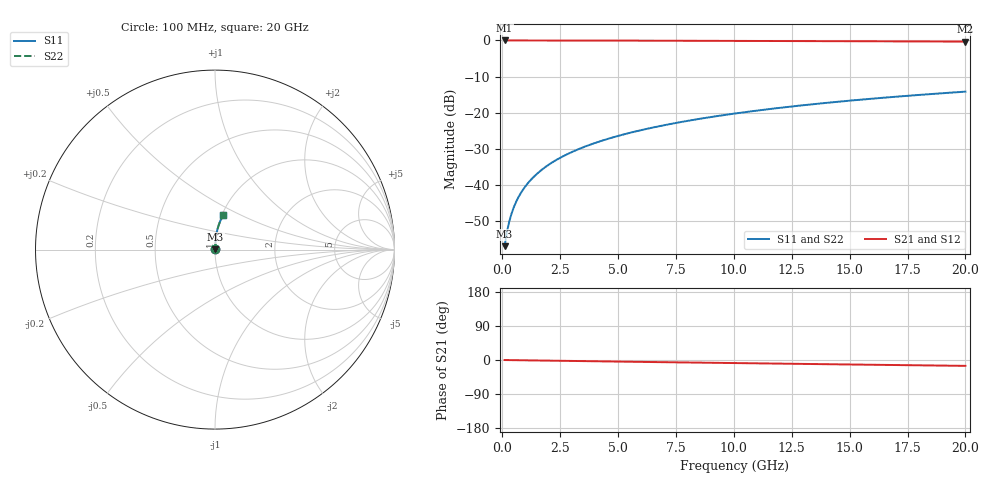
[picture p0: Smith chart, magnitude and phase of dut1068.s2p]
! Touchstone file exported from HFSS 2024.1.0
!  File:  C:/UserFiles/LocalFiles/RDL_TSV_Batchsim/temp_RDL_bottom_1068_1780052645.aedt
!  Generated:  07:06:59 PM May 29, 2026
!  Design:  RDL_bottom
!  Project:  temp_RDL_bottom_1068_1780052645
!  Setup:  Setup1
!  Solution:  Sweep
! Variables:
!  dtsv = 10.80580581um
!  hbump = 3um
!  htsv = 98.9um
!  ldown = 165.94um
!  lrdl = 100um
!  p = 40
!  p1 = 51.41um
!  rhole = 1um
!  t = 450um
!  tdown = 4.33um
!  trdl = 3.915915916um
!  wdown = 15.51um
!  wrdl = 20um
# GHz S MA R 50.000000
! Terminal data exported
! Port[1] = RDL1_T1
! Port[2] = RDL1_T2
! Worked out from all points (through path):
!   200 points, 100 MHz to 20 GHz, reference 50 ohm
!   highest |S21| = -0.01 dB at 100 MHz (marker M1); lowest = -0.3 dB at 20 GHz (marker M2)
!   group delay of S21, straight-line fit = 2.14 ps
!   lowest |S11| = -57.0 dB at 100 MHz (marker M3), VSWR 1.00, Z = 50.1 + j0.0989 ohm
!   |S11| at or under -10 dB: start of sweep to end of sweep
!   |S22| runs from -57.0 to -14.2 dB; largest |S21 - S12| = 4.4e-15
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0.1  0.00142 44.0  0.999 -0.1  0.999 -0.1  0.00142 44.0
! Gamma 0 0 0 0
! Port Impedance 50 0 50 0
0.2  0.002223 61.8  0.9989 -0.2  0.9989 -0.2  0.002223 61.8
0.3  0.00311 69.6  0.9989 -0.3  0.9989 -0.3  0.00311 69.6
0.4  0.004018 74.0  0.9989 -0.3  0.9989 -0.3  0.004018 74.0
0.5  0.004935 76.7  0.9988 -0.4  0.9988 -0.4  0.004935 76.7
0.6  0.005857 78.6  0.9988 -0.5  0.9988 -0.5  0.005857 78.6
0.8  0.007714 81.1  0.9987 -0.7  0.9987 -0.7  0.007714 81.1
1.1  0.01052 83.2  0.9986 -0.9  0.9986 -0.9  0.01052 83.2
1.5  0.01428 84.7  0.9984 -1.3  0.9984 -1.3  0.01428 84.7
1.8  0.01711 85.3  0.9982 -1.5  0.9982 -1.5  0.01711 85.3
2.1  0.01994 85.8  0.9979 -1.8  0.9979 -1.8  0.01994 85.8
2.7  0.02563 86.3  0.9974 -2.3  0.9974 -2.3  0.02563 86.3
3.5  0.03325 86.5  0.9965 -3.0  0.9965 -3.0  0.03325 86.5
4.2  0.03996 86.5  0.9956 -3.5  0.9956 -3.5  0.03996 86.5
5  0.04767 86.4  0.9944 -4.2  0.9944 -4.2  0.04767 86.4
5.9  0.0564 86.2  0.9929 -4.9  0.9929 -4.9  0.0564 86.2
6.8  0.0652 85.9  0.9914 -5.6  0.9914 -5.6  0.0652 85.9
8.3  0.07999 85.1  0.9886 -6.8  0.9886 -6.8  0.07999 85.1
10.1  0.09788 84.1  0.9851 -8.2  0.9851 -8.2  0.09788 84.1
13.4  0.1308 81.9  0.9784 -10.7  0.9784 -10.7  0.1308 81.9
16.7  0.1634 79.4  0.9712 -13.1  0.9712 -13.1  0.1634 79.4
20  0.1954 76.9  0.9635 -15.5  0.9635 -15.5  0.1954 76.9
